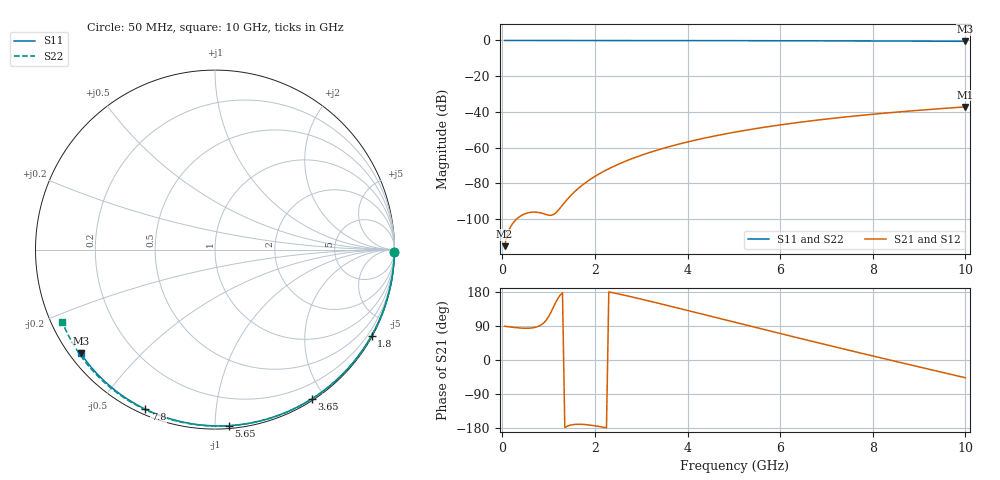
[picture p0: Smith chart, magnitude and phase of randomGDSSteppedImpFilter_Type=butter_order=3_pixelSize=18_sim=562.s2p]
! freq	dB(S11)	phase(S11)	dB(S12)	phase(S12)
!  dB(S21)	phase(S21)	dB(S22)	phase(S22)
!S-par simulation data
#  GHz  S  DB  R 50
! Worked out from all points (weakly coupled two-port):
!   200 points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, 50 MHz to 10 GHz, reference 50 ohm
!   highest |S21| = -37.19 dB at 10 GHz (marker M1); lowest = -115.2 dB at 50 MHz (marker M2)
!   lowest |S11| = -0.5 dB at 10 GHz (marker M3), VSWR 35.20, Z = 1.59 - j17.1 ohm
!   |S11| at or under -10 dB: nowhere
!   |S22| runs from -0.5 to 0.0 dB; largest |S21 - S12| = 0
!   S11 on the Smith chart (normalised r, x): 50 MHz: open; 1.8 GHz: 0.03, -3.88; 3.65 GHz: 0.02, -1.84; 5.65 GHz: 0.02, -1.08; 7.8 GHz: 0.02, -0.65; 10 GHz: 0.03, -0.34
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0.05  -0.00 -0.8  -115.21 89.1  -115.21 89.1  -0.00 -0.9
0.45  -0.01 -7.3  -97.53 83.9  -97.53 83.9  -0.01 -8.0
0.9  -0.02 -14.6  -97.11 98.5  -97.11 98.5  -0.02 -16.0
1.75  -0.04 -28.1  -80.57 -170.0  -80.57 -170.0  -0.04 -30.8
1.8  -0.04 -28.9  -79.60 -170.5  -79.60 -170.5  -0.04 -31.7
1.95  -0.04 -31.2  -76.95 -172.7  -76.95 -172.7  -0.04 -34.3
2.1  -0.04 -33.6  -74.60 -175.6  -74.60 -175.6  -0.05 -36.8
2.3  -0.05 -36.7  -71.84 179.8  -71.84 179.8  -0.05 -40.2
2.5  -0.05 -39.8  -69.40 174.6  -69.40 174.6  -0.06 -43.6
2.9  -0.06 -45.9  -65.24 163.5  -65.24 163.5  -0.07 -50.3
3.4  -0.07 -53.4  -61.00 148.9  -61.00 148.9  -0.08 -58.5
3.65  -0.08 -57.1  -59.16 141.4  -59.16 141.4  -0.08 -62.5
4.3  -0.09 -66.6  -55.06 121.6  -55.06 121.6  -0.10 -72.8
5.05  -0.12 -77.2  -51.22 98.7  -51.22 98.7  -0.13 -84.3
5.65  -0.14 -85.4  -48.64 80.5  -48.64 80.5  -0.16 -93.3
6.15  -0.16 -92.2  -46.77 65.4  -46.77 65.4  -0.18 -100.6
6.7  -0.19 -99.4  -44.93 48.9  -44.93 48.9  -0.21 -108.5
7.25  -0.23 -106.6  -43.29 32.6  -43.29 32.6  -0.25 -116.2
7.8  -0.26 -113.6  -41.83 16.5  -41.83 16.5  -0.29 -123.9
8.35  -0.31 -120.6  -40.51 0.5  -40.51 0.5  -0.34 -131.6
9.2  -0.39 -131.4  -38.70 -24.0  -38.70 -24.0  -0.43 -143.4
10  -0.49 -142.2  -37.19 -46.9  -37.19 -46.9  -0.52 -154.6
